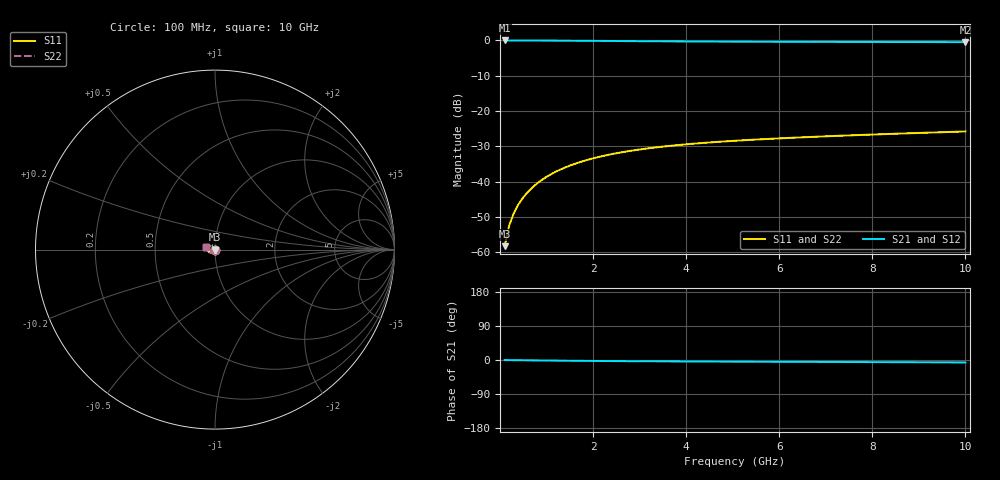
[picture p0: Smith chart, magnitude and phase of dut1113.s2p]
! Touchstone file exported from HFSS 2024.1.0
!  File:  C:/UserFiles/LocalFiles/RDL_TSV_Batchsim/temp_TSV1_1113_1780068330.aedt
!  Generated:  11:30:56 PM May 29, 2026
!  Design:  TSV1
!  Project:  temp_TSV1_1113_1780068330
!  Setup:  Setup1
!  Solution:  Sweep
! Variables:
!  dtsv = 8.62um
!  hbump = 3um
!  htsv = 99.71um
!  lrdl = 252.1521522um
!  p = 40
!  p1 = 55.26um
!  t = 500um
!  trdl = 3um
!  wrdl = 24.89489489um
# GHz S MA R 50.000000
! Terminal data exported
! Port[1] = TSV22_T1
! Port[2] = TSV22_T2
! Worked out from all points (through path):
!   100 points, 100 MHz to 10 GHz, reference 50 ohm
!   highest |S21| = 0.00 dB at 100 MHz (marker M1); lowest = -0.5 dB at 10 GHz (marker M2)
!   lowest |S11| = -58.3 dB at 100 MHz (marker M3), VSWR 1.00, Z = 50 - j0.121 ohm
!   |S11| at or under -10 dB: start of sweep to end of sweep
!   |S22| runs from -58.3 to -25.8 dB; largest |S21 - S12| = 5.3e-15
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0.1  0.001219 -81.5  0.9997 -0.1  0.9997 -0.1  0.001219 -81.5
! Gamma 0 0 0 0
! Port Impedance 50 0 50 0
0.2  0.002411 -88.6  0.9996 -0.3  0.9996 -0.3  0.002411 -88.6
0.3  0.003608 -92.3  0.9994 -0.4  0.9994 -0.4  0.003608 -92.3
0.4  0.004801 -95.2  0.999 -0.6  0.999 -0.6  0.004801 -95.2
0.5  0.005986 -97.8  0.9987 -0.7  0.9987 -0.7  0.005986 -97.8
0.6  0.007158 -100.2  0.9982 -0.9  0.9982 -0.9  0.007158 -100.2
0.7  0.008316 -102.4  0.9977 -1.0  0.9977 -1.0  0.008316 -102.4
0.8  0.009457 -104.6  0.9971 -1.1  0.9971 -1.1  0.009457 -104.6
0.9  0.01058 -106.7  0.9964 -1.2  0.9964 -1.2  0.01058 -106.7
1.1  0.01276 -110.8  0.9949 -1.5  0.9949 -1.5  0.01276 -110.8
1.4  0.01586 -116.6  0.9924 -1.9  0.9924 -1.9  0.01586 -116.6
1.6  0.0178 -120.3  0.9905 -2.1  0.9905 -2.1  0.0178 -120.3
1.8  0.01963 -123.8  0.9885 -2.3  0.9885 -2.3  0.01963 -123.8
2.1  0.02219 -128.9  0.9855 -2.5  0.9855 -2.5  0.02219 -128.9
2.5  0.02524 -135.2  0.9816 -2.9  0.9816 -2.9  0.02524 -135.2
2.9  0.02792 -141.0  0.9777 -3.2  0.9777 -3.2  0.02792 -141.0
3.4  0.03082 -147.7  0.9733 -3.5  0.9733 -3.5  0.03082 -147.7
4.2  0.03464 -157.1  0.9673 -3.9  0.9673 -3.9  0.03464 -157.1
5.1  0.0381 -166.1  0.9619 -4.3  0.9619 -4.3  0.0381 -166.1
6.7  0.04302 -179.4  0.955 -5.0  0.955 -5.0  0.04302 -179.4
8.4  0.04745 169.4  0.9503 -5.7  0.9503 -5.7  0.04745 169.4
10  0.05137 160.6  0.9472 -6.4  0.9472 -6.4  0.05137 160.6
